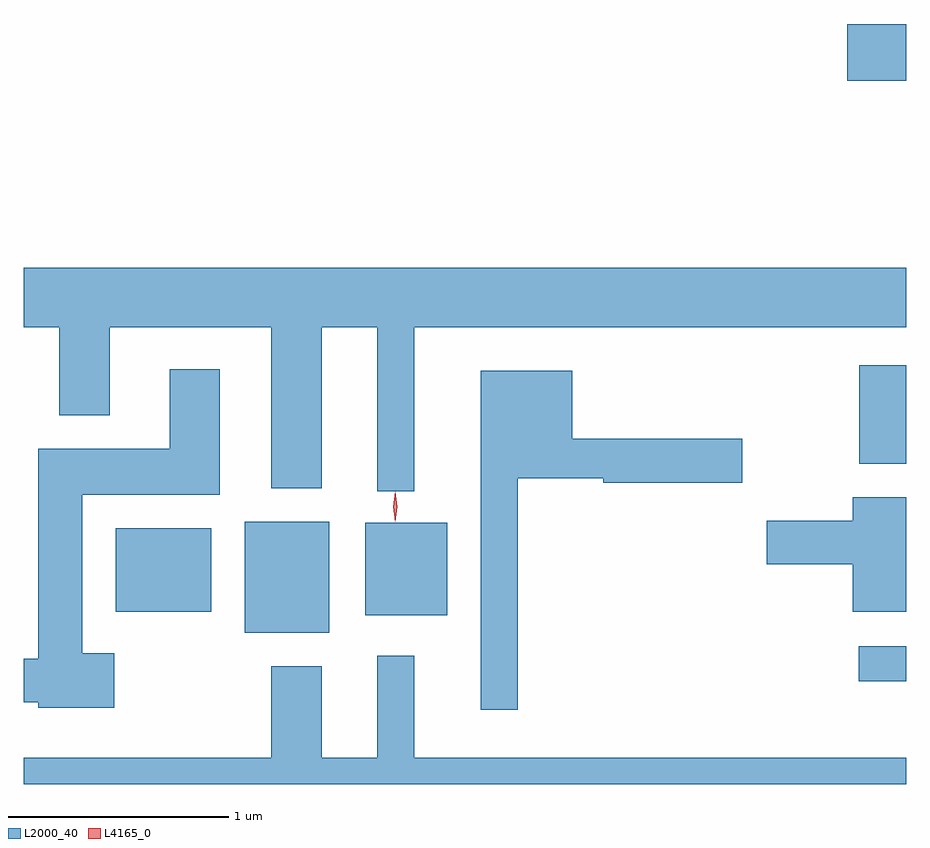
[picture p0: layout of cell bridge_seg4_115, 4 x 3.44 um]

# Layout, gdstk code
import gdstk
lib = gdstk.Library(unit=1e-6, precision=1e-09)
def R(c, l, rs):  # rectangles x0, y0, x1, y1
    for r in rs: c.add(gdstk.rectangle(r[:2], r[2:], *l))
def P(c, l, *ps):  # polygons
    for p in ps: c.add(gdstk.Polygon(p, *l))
L2000_40 = (2000, 40)
L4165_0 = (4165, 0)

bridge_seg4_115 = lib.new_cell('bridge_seg4_115')
R(bridge_seg4_115, L2000_40, [(826.923,1370.831,827.139,1370.989), (824.141,1371.051,824.524,1371.554), (824.686,1371.131,825.059,1371.549), (823.556,1371.146,823.989,1371.524), (826.926,1371.816,827.139,1372.264), (826.871,1373.551,827.139,1373.809)])
P(bridge_seg4_115, L2000_40, [(823.139,1372.436),(823.301,1372.436),(823.301,1372.036),(823.529,1372.036),(823.529,1372.436),(824.261,1372.436),(824.261,1371.706),(824.489,1371.706),(824.489,1372.436),(824.741,1372.436),(824.741,1371.693),(824.909,1371.693),(824.909,1372.436),(827.139,1372.436),(827.139,1372.704),(823.139,1372.704)],
  [(823.549,1370.959),(823.404,1370.959),(823.404,1371.676),(824.029,1371.676),(824.029,1372.244),(823.801,1372.244),(823.801,1371.884),(823.206,1371.884),(823.206,1370.934),(823.139,1370.934),(823.139,1370.736),(823.206,1370.736),(823.206,1370.711),(823.549,1370.711)],
  [(825.379,1371.751),(825.766,1371.751),(825.766,1371.731),(826.394,1371.731),(826.394,1371.929),(825.624,1371.929),(825.624,1372.239),(825.211,1372.239),(825.211,1370.703),(825.379,1370.703)],
  [(827.139,1371.664),(826.896,1371.664),(826.896,1371.559),(826.506,1371.559),(826.506,1371.361),(826.896,1371.361),(826.896,1371.146),(827.139,1371.146)],
  [(827.139,1370.484),(824.909,1370.484),(824.909,1370.948),(824.741,1370.948),(824.741,1370.484),(824.489,1370.484),(824.489,1370.899),(824.261,1370.899),(824.261,1370.484),(823.139,1370.484),(823.139,1370.366),(827.139,1370.366)])
P(bridge_seg4_115, L4165_0, [(824.822,1371.554),(824.813,1371.622),(824.822,1371.69),(824.823,1371.69),(824.823,1371.69),(824.833,1371.622),(824.823,1371.554),(824.823,1371.554)],
  [(824.822,1371.558),(824.813,1371.622),(824.822,1371.687),(824.823,1371.687),(824.823,1371.687),(824.833,1371.622),(824.823,1371.558),(824.823,1371.558)])

lib.write_gds('bridge_seg4_115.gds')
